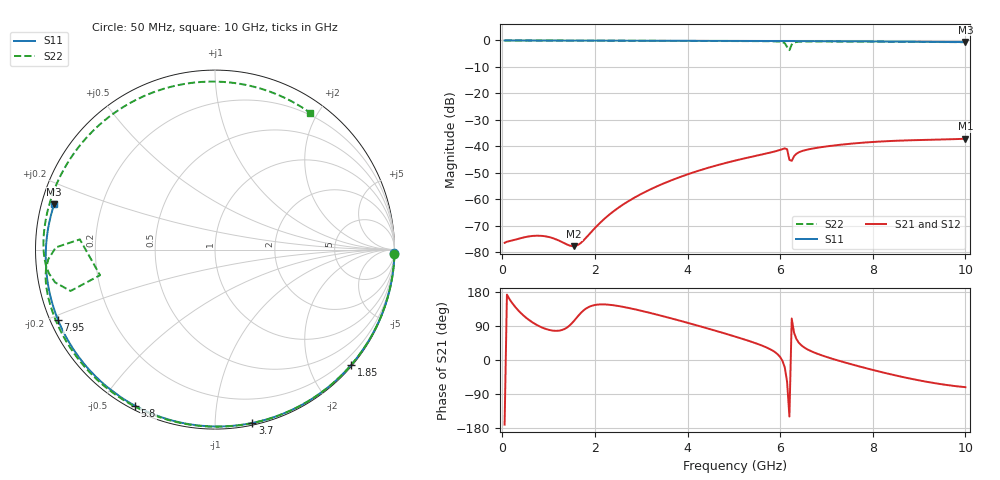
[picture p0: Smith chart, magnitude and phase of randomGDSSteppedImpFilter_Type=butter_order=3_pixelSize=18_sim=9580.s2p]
! freq	dB(S11)	phase(S11)	dB(S12)	phase(S12)
!  dB(S21)	phase(S21)	dB(S22)	phase(S22)
!S-par simulation data
#  GHz  S  DB  R 50
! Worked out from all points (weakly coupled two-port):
!   200 points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, 50 MHz to 10 GHz, reference 50 ohm
!   highest |S21| = -37.10 dB at 10 GHz (marker M1); lowest = -77.7 dB at 1.55 GHz (marker M2)
!   lowest |S11| = -0.6 dB at 10 GHz (marker M3), VSWR 27.98, Z = 1.82 + j6.96 ohm
!   |S11| at or under -10 dB: nowhere
!   |S22| runs from -3.7 to 0.0 dB; largest |S21 - S12| = 0
!   S11 on the Smith chart (normalised r, x): 50 MHz: open; 1.85 GHz: 0.02, -2.73; 3.7 GHz: 0.02, -1.24; 5.8 GHz: 0.02, -0.61; 7.95 GHz: 0.02, -0.21; 10 GHz: 0.04, +0.14
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0.05  -0.00 -1.1  -76.39 -170.5  -76.39 -170.5  -0.00 -1.5
0.8  -0.02 -17.6  -73.71 89.0  -73.71 89.0  -0.03 -24.4
1.55  -0.04 -33.8  -77.65 103.4  -77.65 103.4  -0.06 -46.7
1.75  -0.05 -38.1  -75.56 130.3  -75.56 130.3  -0.07 -52.5
1.85  -0.05 -40.2  -73.69 138.8  -73.69 138.8  -0.07 -55.4
2.5  -0.07 -53.8  -63.23 142.6  -63.23 142.6  -0.09 -74.0
3.4  -0.09 -71.9  -54.61 117.8  -54.61 117.8  -0.13 -98.8
3.7  -0.10 -77.8  -52.46 108.2  -52.46 108.2  -0.14 -107.0
5.05  -0.16 -103.4  -45.25 61.0  -45.25 61.0  -0.22 -143.4
5.8  -0.20 -117.1  -42.27 27.4  -42.27 27.4  -0.31 -165.4
6.05  -0.21 -121.6  -41.01 -2.2  -41.01 -2.2  -0.63 -176.7
6.1  -0.22 -122.5  -40.72 -19.7  -40.72 -19.7  -1.04 179.2
6.15  -0.22 -123.4  -41.08 -57.9  -41.08 -57.9  -2.44 175.7
6.2  -0.23 -124.3  -45.09 -149.3  -45.09 -149.3  -3.66 -167.4
6.25  -0.23 -125.2  -45.43 109.4  -45.43 109.4  -1.54 -164.0
6.35  -0.24 -127.0  -42.79 55.6  -42.79 55.6  -0.58 -171.9
6.7  -0.26 -133.2  -40.80 21.5  -40.80 21.5  -0.38 173.9
7.3  -0.31 -144.0  -39.37 -3.1  -39.37 -3.1  -0.41 154.6
7.95  -0.37 -155.8  -38.38 -24.7  -38.38 -24.7  -0.47 133.1
8.35  -0.41 -163.2  -37.98 -36.7  -37.98 -36.7  -0.50 119.1
9.2  -0.51 -179.5  -37.50 -58.3  -37.50 -58.3  -0.58 87.3
10  -0.62 164.1  -37.10 -71.7  -37.10 -71.7  -0.65 55.3
